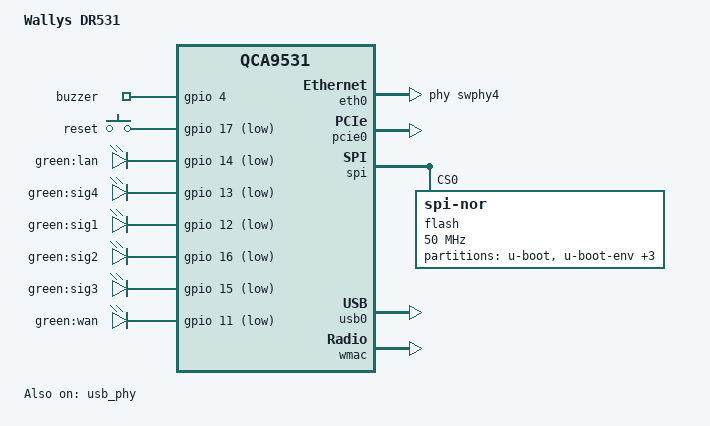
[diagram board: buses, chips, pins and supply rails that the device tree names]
// SPDX-License-Identifier: GPL-2.0-or-later OR MIT

#include "qca953x.dtsi"

#include <dt-bindings/gpio/gpio.h>
#include <dt-bindings/input/input.h>

/ {
	model = "Wallys DR531";
	compatible = "wallys,dr531", "qca,qca9531";

	aliases {
		label-mac-device = &eth1;
		led-boot = &led_sig4;
		led-failsafe = &led_sig4;
		led-upgrade = &led_sig4;
	};

	gpio-export {
		compatible = "gpio-export";

		buzzer {
			gpio-export,name = "buzzer";
			gpio-export,output = <0>;
			gpios = <&gpio 4 GPIO_ACTIVE_HIGH>;
		};
	};

	keys {
		compatible = "gpio-keys";

		reset {
			label = "reset";
			linux,code = <KEY_RESTART>;
			gpios = <&gpio 17 GPIO_ACTIVE_LOW>;
			debounce-interval = <60>;
		};
	};

	leds {
		compatible = "gpio-leds";

		lan {
			label = "green:lan";
			gpios = <&gpio 14 GPIO_ACTIVE_LOW>;
		};

		led_sig4: sig4 {
			label = "green:sig4";
			gpios = <&gpio 13 GPIO_ACTIVE_LOW>;
		};

		sig1 {
			label = "green:sig1";
			gpios = <&gpio 12 GPIO_ACTIVE_LOW>;
		};

		sig2 {
			label = "green:sig2";
			gpios = <&gpio 16 GPIO_ACTIVE_LOW>;
		};

		sig3 {
			label = "green:sig3";
			gpios = <&gpio 15 GPIO_ACTIVE_LOW>;
		};

		wan {
			label = "green:wan";
			gpios = <&gpio 11 GPIO_ACTIVE_LOW>;
		};
	};
};

&eth0 {
	status = "okay";

	phy-handle = <&swphy4>;
	mtd-mac-address = <&env 0xf818>;
};

&eth1 {
	/* Workaround: keep the Ethernet interfaces order/mapping correct
	 * (GMAC0 -> eth0, GMAC1 -> eth1, same as in old ar71xx target) */
	compatible = "qca,qca9530-eth", "syscon", "simple-mfd";

	mtd-mac-address = <&env 0xf810>;
};

&pcie0 {
	status = "okay";
};

&spi {
	status = "okay";

	flash@0 {
		compatible = "jedec,spi-nor";
		reg = <0>;
		spi-max-frequency = <50000000>;
		m25p,fast-read;

		partitions {
			compatible = "fixed-partitions";
			#address-cells = <1>;
			#size-cells = <1>;

			partition@0 {
				label = "u-boot";
				reg = <0x000000 0x030000>;
				read-only;
			};

			env: partition@30000 {
				label = "u-boot-env";
				reg = <0x030000 0x010000>;
			};

			partition@40000 {
				label = "partition-table";
				reg = <0x040000 0x010000>;
				read-only;
			};

			partition@50000 {
				compatible = "denx,uimage";
				label = "firmware";
				reg = <0x050000 0x7a0000>;
			};

			art: partition@7f0000 {
				label = "art";
				reg = <0x7f0000 0x010000>;
				read-only;
			};
		};
	};
};

&usb0 {
	status = "okay";
};

&usb_phy {
	status = "okay";
};

&wmac {
	status = "okay";

	mtd-cal-data = <&art 0x1000>;
};
